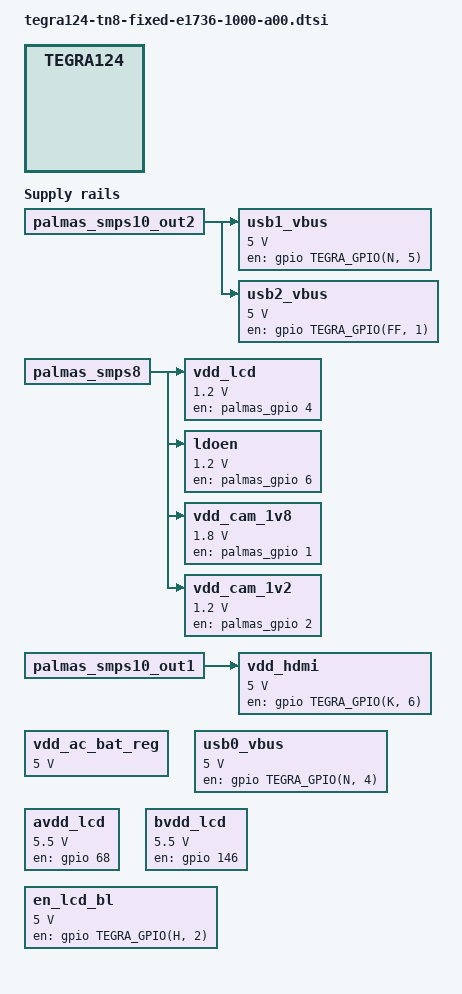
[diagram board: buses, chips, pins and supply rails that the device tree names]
#include <dt-bindings/gpio/tegra-gpio.h>

/ {
	regulators {
		compatible = "simple-bus";
		#address-cells = <1>;
		#size-cells = <0>;

		vdd_ac_bat_reg: regulator@0 {
			compatible = "regulator-fixed";
			reg = <0>;
			regulator-name = "vdd_ac_bat";
			regulator-min-microvolt = <5000000>;
			regulator-max-microvolt = <5000000>;
			regulator-always-on;

			consumers {
				c1 {
					regulator-consumer-supply = "vdd_sys_bl";
				};
			};
		};

		usb0_vbus: regulator@1 {
			compatible = "regulator-fixed-sync";
			reg = <1>;
			regulator-name = "usb0-vbus";
			regulator-min-microvolt = <5000000>;
			regulator-max-microvolt = <5000000>;
			gpio = <&gpio TEGRA_GPIO(N, 4) 0>;
			enable-active-high;
			gpio-open-drain;

			consumers {
				c1 {
					regulator-consumer-supply = "usb_vbus0";
					regulator-consumer-device = "tegra-xhci";
				};
			};
		};

		usb1_vbus: regulator@2 {
			compatible = "regulator-fixed-sync";
			reg = <2>;
			regulator-name = "usb1-vbus";
			regulator-min-microvolt = <5000000>;
			regulator-max-microvolt = <5000000>;
			enable-active-high;
			gpio = <&gpio TEGRA_GPIO(N, 5) 0>;
			gpio-open-drain;
			vin-supply = <&palmas_smps10_out2>;

			consumers {
				c1 {
					regulator-consumer-supply = "usb_vbus";
					regulator-consumer-device = "tegra-ehci.1";
				};
				c2 {
					regulator-consumer-supply = "usb_vbus1";
					regulator-consumer-device = "tegra-xhci";
				};
			};
		};

		usb2_vbus: regulator@3 {
			compatible = "regulator-fixed-sync";
			reg = <3>;
			regulator-name = "usb2-vbus";
			regulator-min-microvolt = <5000000>;
			regulator-max-microvolt = <5000000>;
			enable-active-high;
			gpio = <&gpio TEGRA_GPIO(FF, 1) 0>;
			gpio-open-drain;
			vin-supply = <&palmas_smps10_out2>;

			consumers {
				c1 {
					regulator-consumer-supply = "usb_vbus";
					regulator-consumer-device = "tegra-ehci.2";
				};
				c2 {
					regulator-consumer-supply = "usb_vbus2";
					regulator-consumer-device = "tegra-xhci";
				};
			};
		};

		avdd_lcd: regulator@41 {
			compatible = "regulator-fixed-sync";
			reg = <41>;
			regulator-name = "avdd-lcd-vsp";
			regulator-min-microvolt = <5500000>;
			regulator-max-microvolt = <5500000>;
			regulator-boot-on;
			gpio = <&gpio 68 0>;
			enable-active-high;

			consumers {
				c1 {
					regulator-consumer-supply = "avdd_lcd";
				};
			};
		};

		bvdd_lcd: regulator@42 {
			compatible = "regulator-fixed-sync";
			reg = <42>;
			regulator-name = "avdd-lcd-vsn";
			regulator-min-microvolt = <5500000>;
			regulator-max-microvolt = <5500000>;
			regulator-boot-on;
			gpio = <&gpio 146 0>;
			enable-active-high;

			consumers {
				c1 {
					regulator-consumer-supply = "bvdd_lcd";
				};
			};
		};

		vdd_lcd: regulator@5 {
			compatible = "regulator-fixed-sync";
			reg = <5>;
			regulator-name = "vdd-lcd";
			regulator-min-microvolt = <1200000>;
			regulator-max-microvolt = <1200000>;
			enable-active-high;
			gpio = <&palmas_gpio 4 0>;
			vin-supply = <&palmas_smps8>;

			consumers {
				c1 {
					regulator-consumer-supply = "vdd_lcd_1v2_s";
				};
			};
		};

		ldoen: regulator@6 {
			compatible = "regulator-fixed-sync";
			reg = <6>;
			regulator-name = "ldoen";
			regulator-min-microvolt = <1200000>;
			regulator-max-microvolt = <1200000>;
			enable-active-high;
			gpio = <&palmas_gpio 6 0>;
			vin-supply = <&palmas_smps8>;

			consumers {
				c1 {
					regulator-consumer-supply = "ldoen";
					regulator-consumer-device = "tegra-snd-rt5639";
				};
			};
		};

		en_lcd_bl: regulator@8 {
			compatible = "regulator-fixed-sync";
			reg = <8>;
			regulator-name = "en-lcd-bl";
			regulator-min-microvolt = <5000000>;
			regulator-max-microvolt = <5000000>;
			enable-active-high;
			gpio = <&gpio TEGRA_GPIO(H, 2) 0>;

			consumers {
				c1 {
					regulator-consumer-supply = "vdd_lcd_bl_en";
				};
			};
		};

		vdd_hdmi: regulator@9 {
			compatible = "regulator-fixed-sync";
			reg = <9>;
			regulator-name = "vdd-hdmi";
			regulator-min-microvolt = <5000000>;
			regulator-max-microvolt = <5000000>;
			enable-active-high;
			gpio = <&gpio TEGRA_GPIO(K, 6) 0>;
			vin-supply = <&palmas_smps10_out1>;

			consumers {
				c1 {
					regulator-consumer-supply = "vdd_hdmi_5v0";
					regulator-consumer-device = "tegradc.1";
				};
			};
		};
		vdd_cam_1v8: regulator@10 {
			compatible = "regulator-fixed-sync";
			reg = <10>;
			regulator-name = "vdd-cam-1v8";
			regulator-min-microvolt = <1800000>;
			regulator-max-microvolt = <1800000>;
			enable-active-high;
			gpio = <&palmas_gpio 1 0>;
			vin-supply = <&palmas_smps8>;

			consumers {
				c1 {
					regulator-consumer-supply = "vdd_cam_1v8";
				};
			};
		};
		vdd_cam_1v2: regulator@11 {
			compatible = "regulator-fixed-sync";
			reg = <11>;
			regulator-name = "vdd-cam-1v2";
			regulator-min-microvolt = <1200000>;
			regulator-max-microvolt = <1200000>;
			enable-active-high;
			gpio = <&palmas_gpio 2 0>;
			vin-supply = <&palmas_smps8>;

			consumers {
				c1 {
					regulator-consumer-supply = "vdd_cam_1v2";
				};
			};
		};
	};
};
